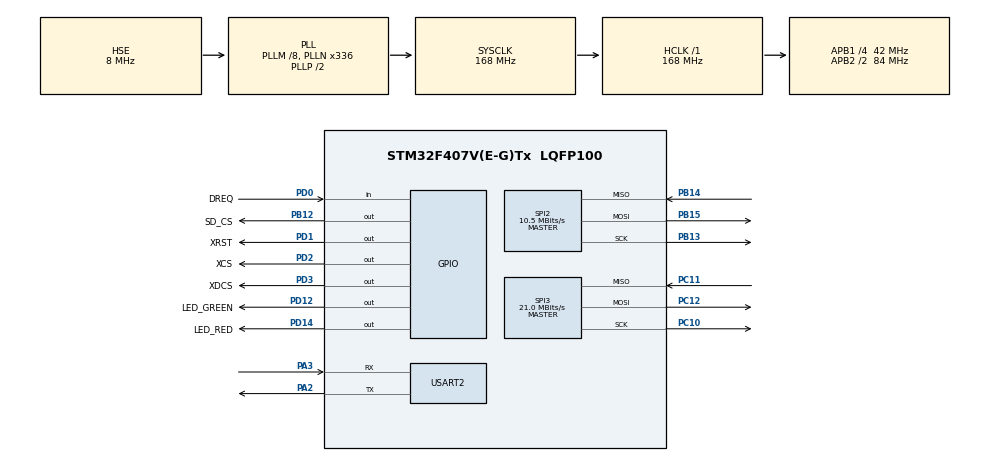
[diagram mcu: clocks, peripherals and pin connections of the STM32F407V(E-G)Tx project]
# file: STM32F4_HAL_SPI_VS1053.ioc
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FATFS._FS_EXFAT=1
FATFS._MAX_SS=4096
FATFS._USE_LFN=1
Mcu.Family=STM32F4
Mcu.Name=STM32F407V(E-G)Tx
Mcu.Package=LQFP100
NVIC.PriorityGroup=NVIC_PRIORITYGROUP_0
NVIC.USART2_IRQn=true\:0\:0\:false\:false\:true\:true
PA2.Mode=Asynchronous
PA2.Signal=USART2_TX
PA3.Mode=Asynchronous
PA3.Signal=USART2_RX
PB12.GPIO_Label=SD_CS
PB12.Signal=GPIO_Output
PB13.Mode=Full_Duplex_Master
PB13.Signal=SPI2_SCK
PB14.Mode=Full_Duplex_Master
PB14.Signal=SPI2_MISO
PB15.Mode=Full_Duplex_Master
PB15.Signal=SPI2_MOSI
PC10.Mode=Full_Duplex_Master
PC10.Signal=SPI3_SCK
PC11.Mode=Full_Duplex_Master
PC11.Signal=SPI3_MISO
PC12.Mode=Full_Duplex_Master
PC12.Signal=SPI3_MOSI
PD0.GPIO_Label=DREQ
PD0.Signal=GPIO_Input
PD1.GPIO_Label=XRST
PD1.Signal=GPIO_Output
PD12.GPIO_Label=LED_GREEN
PD12.Signal=GPIO_Output
PD14.GPIO_Label=LED_RED
PD14.Signal=GPIO_Output
PD2.GPIO_Label=XCS
PD2.Signal=GPIO_Output
PD3.GPIO_Label=XDCS
PD3.Signal=GPIO_Output
PH0-OSC_IN.Mode=HSE-External-Oscillator
PH0-OSC_IN.Signal=RCC_OSC_IN
PH1-OSC_OUT.Mode=HSE-External-Oscillator
PH1-OSC_OUT.Signal=RCC_OSC_OUT
ProjectManager.HeapSize=0x200
ProjectManager.StackSize=0x800
ProjectManager.TargetToolchain=TrueSTUDIO
RCC.48MHZClocksFreq_Value=48000000
RCC.AHBFreq_Value=168000000
RCC.APB1CLKDivider=RCC_HCLK_DIV4
RCC.APB1Freq_Value=42000000
RCC.APB1TimFreq_Value=84000000
RCC.APB2CLKDivider=RCC_HCLK_DIV2
RCC.APB2Freq_Value=84000000
RCC.APB2TimFreq_Value=168000000
RCC.CortexFreq_Value=168000000
RCC.HCLKFreq_Value=168000000
RCC.HSE_VALUE=8000000
RCC.HSI_VALUE=16000000
RCC.LSE_VALUE=32768
RCC.PLLM=8
RCC.PLLN=336
RCC.PLLQ=7
RCC.PLLSourceVirtual=RCC_PLLSOURCE_HSE
RCC.SYSCLKFreq_VALUE=168000000
RCC.SYSCLKSource=RCC_SYSCLKSOURCE_PLLCLK
RCC.VCOOutputFreq_Value=336000000
SPI2.BaudRatePrescaler=SPI_BAUDRATEPRESCALER_4
SPI2.CalculateBaudRate=10.5 MBits/s
SPI2.Direction=SPI_DIRECTION_2LINES
SPI2.Mode=SPI_MODE_MASTER
SPI2.VirtualType=VM_MASTER
SPI3.CalculateBaudRate=21.0 MBits/s
SPI3.Direction=SPI_DIRECTION_2LINES
SPI3.Mode=SPI_MODE_MASTER
SPI3.VirtualType=VM_MASTER
USART2.VirtualMode=VM_ASYNC
VP_FATFS_VS_Generic.Mode=User_defined
board=STM32F4DISCOVERY

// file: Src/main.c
/**
 ******************************************************************************
 * @file           : main.c
 * @brief          : Main program body
 ******************************************************************************
 * This notice applies to any and all portions of this file
 * that are not between comment pairs USER CODE BEGIN and
 * USER CODE END. Other portions of this file, whether
 * inserted by the user or by software development tools
 * are owned by their respective copyright owners.
 *
 * Copyright (c) 2019 STMicroelectronics International N.V.
 * All rights reserved.
 *
 * Redistribution and use in source and binary forms, with or without
 * modification, are permitted, provided that the following conditions are met:
 *
 * 1. Redistribution of source code must retain the above copyright notice,
 *    this list of conditions and the following disclaimer.
 * 2. Redistributions in binary form must reproduce the above copyright notice,
 *    this list of conditions and the following disclaimer in the documentation
 *    and/or other materials provided with the distribution.
 * 3. Neither the name of STMicroelectronics nor the names of other
 *    contributors to this software may be used to endorse or promote products
 *    derived from this software without specific written permission.
 * 4. This software, including modifications and/or derivative works of this
 *    software, must execute solely and exclusively on microcontroller or
 *    microprocessor devices manufactured by or for STMicroelectronics.
 * 5. Redistribution and use of this software other than as permitted under
 *    this license is void and will automatically terminate your rights under
 *    this license.
 *
 * THIS SOFTWARE IS PROVIDED BY STMICROELECTRONICS AND CONTRIBUTORS "AS IS"
 * AND ANY EXPRESS, IMPLIED OR STATUTORY WARRANTIES, INCLUDING, BUT NOT
 * LIMITED TO, THE IMPLIED WARRANTIES OF MERCHANTABILITY, FITNESS FOR A
 * PARTICULAR PURPOSE AND NON-INFRINGEMENT OF THIRD PARTY INTELLECTUAL PROPERTY
 * RIGHTS ARE DISCLAIMED TO THE FULLEST EXTENT PERMITTED BY LAW. IN NO EVENT
 * SHALL STMICROELECTRONICS OR CONTRIBUTORS BE LIABLE FOR ANY DIRECT, INDIRECT,
 * INCIDENTAL, SPECIAL, EXEMPLARY, OR CONSEQUENTIAL DAMAGES (INCLUDING, BUT NOT
 * LIMITED TO, PROCUREMENT OF SUBSTITUTE GOODS OR SERVICES; LOSS OF USE, DATA,
 * OR PROFITS; OR BUSINESS INTERRUPTION) HOWEVER CAUSED AND ON ANY THEORY OF
 * LIABILITY, WHETHER IN CONTRACT, STRICT LIABILITY, OR TORT (INCLUDING
 * NEGLIGENCE OR OTHERWISE) ARISING IN ANY WAY OUT OF THE USE OF THIS SOFTWARE,
 * EVEN IF ADVISED OF THE POSSIBILITY OF SUCH DAMAGE.
 *
 ******************************************************************************
 */
#include "main.h"
#include "stm32f4xx_hal.h"
#include "fatfs.h"

/* USER CODE BEGIN Includes */
#include "MP3_Player.h"
/* USER CODE END Includes */

SPI_HandleTypeDef hspi2;
SPI_HandleTypeDef hspi3;

UART_HandleTypeDef huart2;

/* USER CODE BEGIN PV */
/* Private variables ---------------------------------------------------------*/
uint8_t SerialFlag = 0;
uint8_t SerialCmd = 0;

/* USER CODE END PV */

void SystemClock_Config(void);
static void MX_GPIO_Init(void);
static void MX_SPI2_Init(void);
static void MX_SPI3_Init(void);
static void MX_USART2_UART_Init(void);

/* USER CODE BEGIN PFP */
/* Private function prototypes -----------------------------------------------*/

/* USER CODE END PFP */

/* USER CODE BEGIN 0 */
void HAL_UART_RxCpltCallback(UART_HandleTypeDef *huart)
{
	if(huart->Instance == USART2)
	{
		SerialFlag = 1;
		HAL_UART_Receive_IT(&huart2, &SerialCmd, 1);
	}
}

/* USER CODE END 0 */

int main(void)
{

	/* MCU Configuration----------------------------------------------------------*/

	/* Reset of all peripherals, Initializes the Flash interface and the Systick. */
	HAL_Init();

	/* Configure the system clock */
	SystemClock_Config();

	/* Initialize all configured peripherals */
	MX_GPIO_Init();
	MX_SPI2_Init();
	MX_SPI3_Init();
	MX_FATFS_Init();
	MX_USART2_UART_Init();
	/* USER CODE BEGIN 2 */
	if(!MP3_Init())
	{
		HAL_GPIO_WritePin(GPIOD, GPIO_PIN_14, GPIO_PIN_SET);
	}
	else
	{
		HAL_GPIO_WritePin(GPIOD, GPIO_PIN_12, GPIO_PIN_SET);
	}
	HAL_UART_Receive_IT(&huart2, &SerialCmd, 1);

	/* USER CODE END 2 */

	/* Infinite loop */
	while (1)
	{

		/* USER CODE BEGIN 3 */
		if(SerialFlag)
		{
			SerialFlag = 0;

			switch(SerialCmd)
			{
			case '1':
				MP3_Play("track001.mp3");
				break;
			case '2':
				MP3_Play("track002.mp3");
				break;
			case 'p':
			case 'P':
				isPlaying = !isPlaying;
				break;
			case 's':
			case 'S':
				MP3_Stop();
				break;
			default:
				break;
			}
		}

		MP3_Feeder();
	}
	/* USER CODE END 3 */

}

void SystemClock_Config(void)
{

	RCC_OscInitTypeDef RCC_OscInitStruct;
	RCC_ClkInitTypeDef RCC_ClkInitStruct;

	/**Configure the main internal regulator output voltage
	 */
	__HAL_RCC_PWR_CLK_ENABLE();

	__HAL_PWR_VOLTAGESCALING_CONFIG(PWR_REGULATOR_VOLTAGE_SCALE1);

	/**Initializes the CPU, AHB and APB busses clocks
	 */
	RCC_OscInitStruct.OscillatorType = RCC_OSCILLATORTYPE_HSE;
	RCC_OscInitStruct.HSEState = RCC_HSE_ON;
	RCC_OscInitStruct.PLL.PLLState = RCC_PLL_ON;
	RCC_OscInitStruct.PLL.PLLSource = RCC_PLLSOURCE_HSE;
	RCC_OscInitStruct.PLL.PLLM = 8;
	RCC_OscInitStruct.PLL.PLLN = 336;
	RCC_OscInitStruct.PLL.PLLP = RCC_PLLP_DIV2;
	RCC_OscInitStruct.PLL.PLLQ = 7;
	if (HAL_RCC_OscConfig(&RCC_OscInitStruct) != HAL_OK)
	{
		_Error_Handler(__FILE__, __LINE__);
	}

	/**Initializes the CPU, AHB and APB busses clocks
	 */
	RCC_ClkInitStruct.ClockType = RCC_CLOCKTYPE_HCLK|RCC_CLOCKTYPE_SYSCLK
			|RCC_CLOCKTYPE_PCLK1|RCC_CLOCKTYPE_PCLK2;
	RCC_ClkInitStruct.SYSCLKSource = RCC_SYSCLKSOURCE_PLLCLK;
	RCC_ClkInitStruct.AHBCLKDivider = RCC_SYSCLK_DIV1;
	RCC_ClkInitStruct.APB1CLKDivider = RCC_HCLK_DIV4;
	RCC_ClkInitStruct.APB2CLKDivider = RCC_HCLK_DIV2;

	if (HAL_RCC_ClockConfig(&RCC_ClkInitStruct, FLASH_LATENCY_5) != HAL_OK)
	{
		_Error_Handler(__FILE__, __LINE__);
	}

	/**Configure the Systick interrupt time
	 */
	HAL_SYSTICK_Config(HAL_RCC_GetHCLKFreq()/1000);

	/**Configure the Systick
	 */
	HAL_SYSTICK_CLKSourceConfig(SYSTICK_CLKSOURCE_HCLK);

	/* SysTick_IRQn interrupt configuration */
	HAL_NVIC_SetPriority(SysTick_IRQn, 0, 0);
}

/* SPI2 init function */
static void MX_SPI2_Init(void)
{

	/* SPI2 parameter configuration*/
	hspi2.Instance = SPI2;
	hspi2.Init.Mode = SPI_MODE_MASTER;
	hspi2.Init.Direction = SPI_DIRECTION_2LINES;
	hspi2.Init.DataSize = SPI_DATASIZE_8BIT;
	hspi2.Init.CLKPolarity = SPI_POLARITY_LOW;
	hspi2.Init.CLKPhase = SPI_PHASE_1EDGE;
	hspi2.Init.NSS = SPI_NSS_SOFT;
	hspi2.Init.BaudRatePrescaler = SPI_BAUDRATEPRESCALER_2;
	hspi2.Init.FirstBit = SPI_FIRSTBIT_MSB;
	hspi2.Init.TIMode = SPI_TIMODE_DISABLE;
	hspi2.Init.CRCCalculation = SPI_CRCCALCULATION_DISABLE;
	hspi2.Init.CRCPolynomial = 10;
	if (HAL_SPI_Init(&hspi2) != HAL_OK)
	{
		_Error_Handler(__FILE__, __LINE__);
	}

}

/* SPI3 init function */
static void MX_SPI3_Init(void)
{

	/* SPI3 parameter configuration*/
	hspi3.Instance = SPI3;
	hspi3.Init.Mode = SPI_MODE_MASTER;
	hspi3.Init.Direction = SPI_DIRECTION_2LINES;
	hspi3.Init.DataSize = SPI_DATASIZE_8BIT;
	hspi3.Init.CLKPolarity = SPI_POLARITY_LOW;
	hspi3.Init.CLKPhase = SPI_PHASE_1EDGE;
	hspi3.Init.NSS = SPI_NSS_SOFT;
	hspi3.Init.BaudRatePrescaler = SPI_BAUDRATEPRESCALER_2;
	hspi3.Init.FirstBit = SPI_FIRSTBIT_MSB;
	hspi3.Init.TIMode = SPI_TIMODE_DISABLE;
	hspi3.Init.CRCCalculation = SPI_CRCCALCULATION_DISABLE;
	hspi3.Init.CRCPolynomial = 10;
	if (HAL_SPI_Init(&hspi3) != HAL_OK)
	{
		_Error_Handler(__FILE__, __LINE__);
	}

}

/* USART2 init function */
static void MX_USART2_UART_Init(void)
{

	huart2.Instance = USART2;
	huart2.Init.BaudRate = 115200;
	huart2.Init.WordLength = UART_WORDLENGTH_8B;
	huart2.Init.StopBits = UART_STOPBITS_1;
	huart2.Init.Parity = UART_PARITY_NONE;
	huart2.Init.Mode = UART_MODE_TX_RX;
	huart2.Init.HwFlowCtl = UART_HWCONTROL_NONE;
	huart2.Init.OverSampling = UART_OVERSAMPLING_16;
	if (HAL_UART_Init(&huart2) != HAL_OK)
	{
		_Error_Handler(__FILE__, __LINE__);
	}

}

/** Configure pins as
 * Analog
 * Input
 * Output
 * EVENT_OUT
 * EXTI
 */
static void MX_GPIO_Init(void)
{

	GPIO_InitTypeDef GPIO_InitStruct;

	/* GPIO Ports Clock Enable */
	__HAL_RCC_GPIOH_CLK_ENABLE();
	__HAL_RCC_GPIOA_CLK_ENABLE();
	__HAL_RCC_GPIOB_CLK_ENABLE();
	__HAL_RCC_GPIOD_CLK_ENABLE();
	__HAL_RCC_GPIOC_CLK_ENABLE();

	/*Configure GPIO pin Output Level */
	HAL_GPIO_WritePin(SD_CS_GPIO_Port, SD_CS_Pin, GPIO_PIN_RESET);

	/*Configure GPIO pin Output Level */
	HAL_GPIO_WritePin(GPIOD, LED_GREEN_Pin|LED_RED_Pin|XRST_Pin|XCS_Pin
			|XDCS_Pin, GPIO_PIN_RESET);

	/*Configure GPIO pin : SD_CS_Pin */
	GPIO_InitStruct.Pin = SD_CS_Pin;
	GPIO_InitStruct.Mode = GPIO_MODE_OUTPUT_PP;
	GPIO_InitStruct.Pull = GPIO_NOPULL;
	GPIO_InitStruct.Speed = GPIO_SPEED_FREQ_LOW;
	HAL_GPIO_Init(SD_CS_GPIO_Port, &GPIO_InitStruct);

	/*Configure GPIO pins : LED_GREEN_Pin LED_RED_Pin XRST_Pin XCS_Pin
                           XDCS_Pin */
	GPIO_InitStruct.Pin = LED_GREEN_Pin|LED_RED_Pin|XRST_Pin|XCS_Pin
			|XDCS_Pin;
	GPIO_InitStruct.Mode = GPIO_MODE_OUTPUT_PP;
	GPIO_InitStruct.Pull = GPIO_NOPULL;
	GPIO_InitStruct.Speed = GPIO_SPEED_FREQ_LOW;
	HAL_GPIO_Init(GPIOD, &GPIO_InitStruct);

	/*Configure GPIO pin : DREQ_Pin */
	GPIO_InitStruct.Pin = DREQ_Pin;
	GPIO_InitStruct.Mode = GPIO_MODE_INPUT;
	GPIO_InitStruct.Pull = GPIO_NOPULL;
	HAL_GPIO_Init(DREQ_GPIO_Port, &GPIO_InitStruct);

}

void _Error_Handler(char *file, int line)
{
	while(1)
	{
	}
}

/************************ (C) COPYRIGHT STMicroelectronics *****END OF FILE****/
